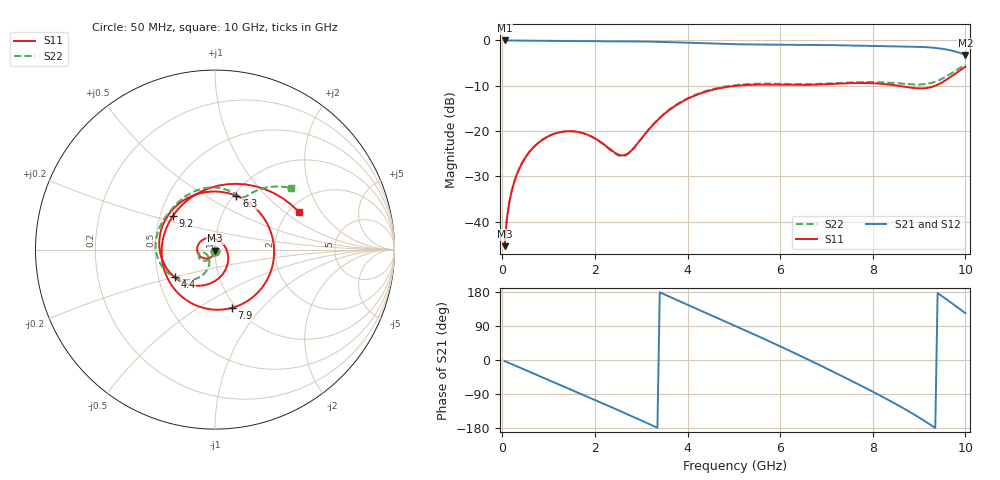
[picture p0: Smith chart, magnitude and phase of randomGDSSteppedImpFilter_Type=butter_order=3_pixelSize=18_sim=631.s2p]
! freq	dB(S11)	phase(S11)	dB(S12)	phase(S12)
!  dB(S21)	phase(S21)	dB(S22)	phase(S22)
!S-par simulation data
#  GHz  S  DB  R 50
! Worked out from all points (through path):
!   200 points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, 50 MHz to 10 GHz, reference 50 ohm
!   highest |S21| = -0.01 dB at 50 MHz (marker M1); lowest = -3.2 dB at 10 GHz (marker M2)
!   group delay of S21, straight-line fit = 160 ps
!   lowest |S11| = -45.4 dB at 50 MHz (marker M3), VSWR 1.01, Z = 50 - j0.535 ohm
!   |S11| at or under -10 dB: start of sweep to 5.071 GHz; 8.538 GHz to 9.35 GHz (811.7 MHz wide, 9.07 % of centre)
!   |S22| runs from -45.2 to -5.3 dB; largest |S21 - S12| = 0
!   S11 on the Smith chart (normalised r, x): 50 MHz: 1.00, -0.01; 4.4 GHz: 0.61, -0.20; 6.3 GHz: 1.04, +0.69; 7.9 GHz: 0.95, -0.70; 9.2 GHz: 0.58, +0.24; 10 GHz: 2.26, +1.28
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0.05  -45.43 -88.8  -0.01 -2.7  -0.01 -2.7  -45.15 -89.4
0.1  -39.31 -94.5  -0.01 -5.4  -0.01 -5.4  -39.29 -93.0
0.2  -33.39 -101.7  -0.02 -10.7  -0.02 -10.7  -33.38 -98.6
0.55  -25.10 -123.7  -0.05 -29.1  -0.05 -29.1  -25.07 -115.4
1.2  -20.37 -165.0  -0.11 -63.3  -0.11 -63.3  -20.38 -143.4
1.75  -20.50 156.0  -0.14 -92.3  -0.14 -92.3  -20.52 -162.7
2.15  -22.60 118.6  -0.15 -113.5  -0.15 -113.5  -22.70 -167.8
2.6  -25.39 45.6  -0.17 -137.7  -0.17 -137.7  -25.58 -142.1
3.4  -17.14 -70.2  -0.32 178.5  -0.32 178.5  -17.07 -113.2
3.85  -13.72 -106.3  -0.46 153.9  -0.46 153.9  -13.62 -126.4
4.4  -11.31 -145.5  -0.66 124.0  -0.66 124.0  -11.17 -146.8
5.05  -10.02 168.6  -0.84 88.8  -0.84 88.8  -9.84 -171.3
5.65  -9.75 123.1  -0.91 55.8  -0.91 55.8  -9.54 168.0
6.3  -9.83 68.3  -0.94 18.9  -0.94 18.9  -9.63 148.5
6.7  -9.79 32.4  -0.97 -4.4  -0.97 -4.4  -9.62 137.4
7.25  -9.55 -17.1  -1.06 -37.3  -1.06 -37.3  -9.41 121.0
7.9  -9.42 -74.0  -1.20 -77.3  -1.20 -77.3  -9.19 98.2
8.35  -9.75 -115.1  -1.28 -106.2  -1.28 -106.2  -9.33 81.6
8.8  -10.39 -163.6  -1.36 -137.1  -1.36 -137.1  -9.69 67.8
9.2  -10.44 141.2  -1.52 -167.2  -1.52 -167.2  -9.53 60.9
9.65  -8.28 71.9  -2.12 155.0  -2.12 155.0  -7.57 53.4
10  -5.80 24.1  -3.18 123.4  -3.18 123.4  -5.30 39.2
